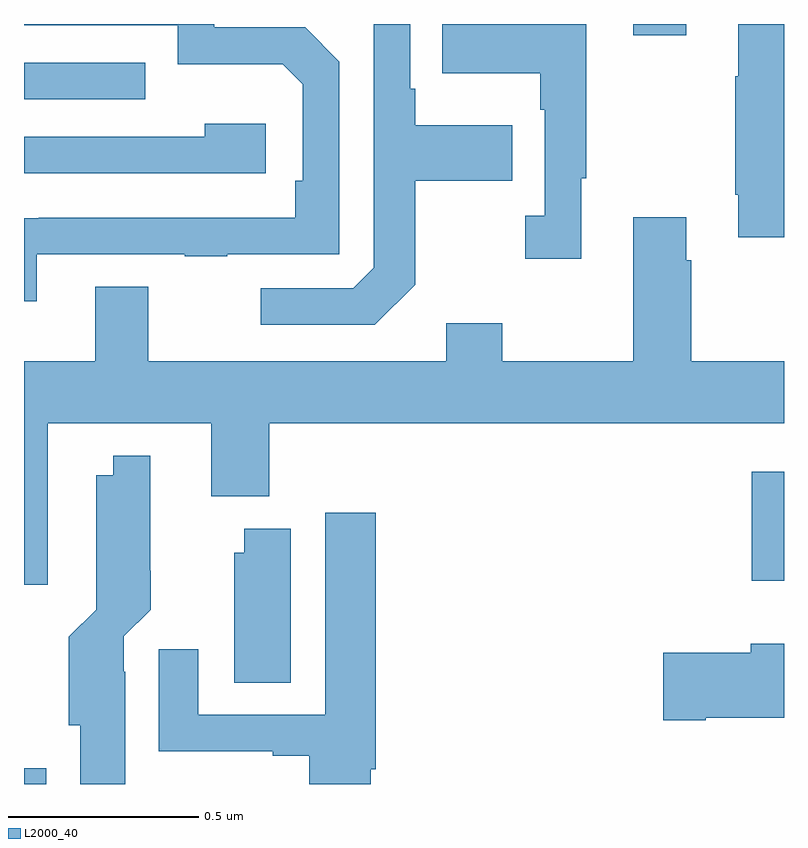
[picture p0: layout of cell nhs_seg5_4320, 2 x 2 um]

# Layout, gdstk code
import gdstk
lib = gdstk.Library(unit=1e-6, precision=1e-09)
def R(c, l, rs):  # rectangles x0, y0, x1, y1
    for r in rs: c.add(gdstk.rectangle(r[:2], r[2:], *l))
def P(c, l, *ps):  # polygons
    for p in ps: c.add(gdstk.Polygon(p, *l))
L2000_40 = (2000, 40)

nhs_seg5_4320 = lib.new_cell('nhs_seg5_4320')
R(nhs_seg5_4320, L2000_40, [(169,867.799,169.059,867.841), (170.915,868.334,171,868.621), (169,869.601,169.319,869.697), (170.603,869.769,170.743,869.799)])
P(nhs_seg5_4320, L2000_40, [(170.029,869.113),(170.029,869.386),(170.285,869.386),(170.285,869.533),(170.029,869.533),(170.029,869.629),(170.016,869.629),(170.016,869.799),(169.92,869.799),(169.92,869.157),(169.866,869.103),(169.623,869.103),(169.623,869.007),(169.923,869.007)],
  [(169.033,869.193),(169.423,869.193),(169.423,869.188),(169.535,869.188),(169.535,869.193),(169.83,869.193),(169.83,869.7),(169.74,869.79),(169.5,869.79),(169.5,869.799),(169,869.799),(169,869.796),(169.404,869.796),(169.404,869.693),(169.681,869.693),(169.734,869.64),(169.734,869.386),(169.714,869.386),(169.714,869.289),(169.039,869.289),(169.039,869.288),(169,869.288),(169,869.07),(169.033,869.07)],
  [(171,869.799),(170.879,869.799),(170.879,869.661),(170.872,869.661),(170.872,869.35),(170.879,869.35),(170.879,869.238),(171,869.238)],
  [(170.467,869.393),(170.479,869.393),(170.479,869.799),(170.101,869.799),(170.101,869.669),(170.358,869.669),(170.358,869.573),(170.37,869.573),(170.37,869.294),(170.319,869.294),(170.319,869.181),(170.467,869.181)],
  [(169.636,869.536),(169.475,869.536),(169.475,869.502),(169,869.502),(169,869.406),(169.636,869.406)],
  [(169.063,868.748),(169.493,868.748),(169.493,868.556),(169.646,868.556),(169.646,868.748),(171,868.748),(171,868.912),(170.756,868.912),(170.756,869.177),(170.743,869.177),(170.743,869.29),(170.603,869.29),(170.603,868.912),(170.259,868.912),(170.259,869.011),(170.111,869.011),(170.111,868.912),(169.327,868.912),(169.327,869.107),(169.187,869.107),(169.187,868.912),(169,868.912),(169,868.323),(169.063,868.323)],
  [(169.267,868.094),(169.263,868.094),(169.263,868.188),(169.333,868.258),(169.333,868.36),(169.332,868.36),(169.332,868.663),(169.235,868.663),(169.235,868.612),(169.19,868.612),(169.19,868.258),(169.118,868.186),(169.118,867.954),(169.148,867.954),(169.148,867.799),(169.267,867.799)],
  [(169.912,867.838),(169.925,867.838),(169.925,868.513),(169.793,868.513),(169.793,867.981),(169.459,867.981),(169.459,868.153),(169.355,868.153),(169.355,867.885),(169.655,867.885),(169.655,867.873),(169.751,867.873),(169.751,867.799),(169.912,867.799)],
  [(169.702,868.471),(169.58,868.471),(169.58,868.407),(169.553,868.407),(169.553,868.066),(169.702,868.066)],
  [(170.794,867.974),(171,867.974),(171,868.168),(170.912,868.168),(170.912,868.145),(170.682,868.145),(170.682,867.967),(170.794,867.967)])

lib.write_gds('nhs_seg5_4320.gds')
